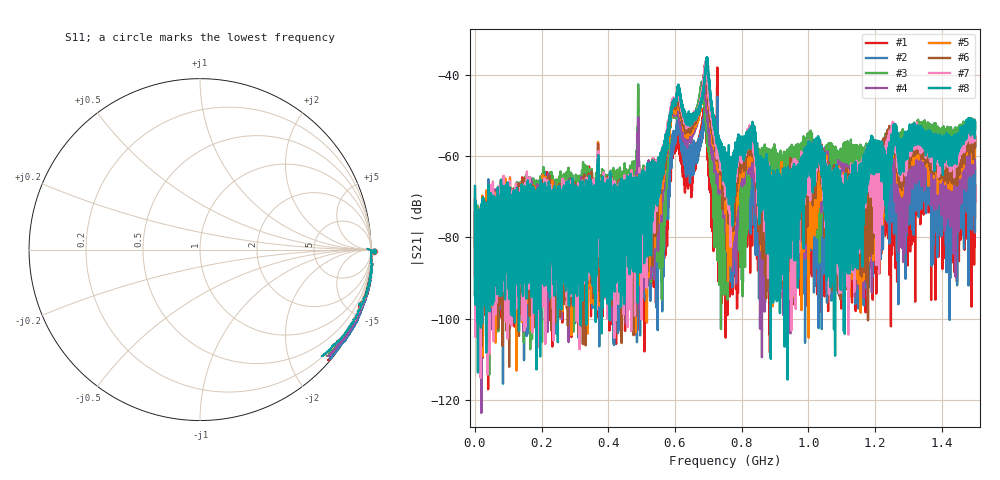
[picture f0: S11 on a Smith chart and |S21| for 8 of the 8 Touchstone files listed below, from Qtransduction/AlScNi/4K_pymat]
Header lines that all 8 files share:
!Agilent Technologies,N5230C,SG49000117,A.08.50.07
!Agilent N5230C: A.08.50.07
!Correction: S11(Full 2 Port(1,2))
!S21(Full 2 Port(1,2))
!S12(Full 2 Port(1,2))
!S22(Full 2 Port(1,2))
!S2P File: Measurements: S11, S21, S12, S22:
# Hz S  RI  R 50
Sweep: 300 kHz to 1.5 GHz
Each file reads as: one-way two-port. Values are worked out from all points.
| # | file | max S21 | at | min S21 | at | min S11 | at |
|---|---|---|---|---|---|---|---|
| 1 | B2.s2p | -38.19 dB | 727.1 MHz | -117.4 dB | 39.74 MHz | -0.2 dB | 525 kHz |
| 2 | B7.s2p | -45.40 dB | 727.6 MHz | -116.0 dB | 84.21 MHz | -0.2 dB | 674.9 kHz |
| 3 | C0.s2p | -41.71 dB | 680.3 MHz | -113.8 dB | 42.97 MHz | -0.3 dB | 1.497 GHz |
| 4 | C2.s2p | -41.00 dB | 686.3 MHz | -123.2 dB | 19.35 MHz | -0.2 dB | 1.497 GHz |
| 5 | D3.s2p | -37.98 dB | 691.2 MHz | -112.8 dB | 124.6 MHz | -0.5 dB | 1.497 GHz |
| 6 | D4.s2p | -37.34 dB | 691 MHz | -111.8 dB | 102.8 MHz | -0.5 dB | 1.497 GHz |
| 7 | D6.s2p | -36.60 dB | 692.5 MHz | -114.5 dB | 17.1 MHz | -0.5 dB | 1.497 GHz |
| 8 | D7.s2p | -35.68 dB | 696.2 MHz | -115.0 dB | 937.3 MHz | -0.5 dB | 1.497 GHz |
